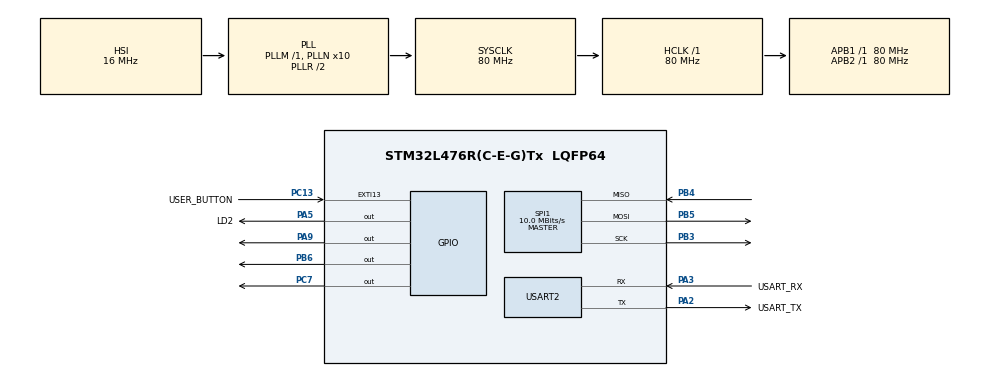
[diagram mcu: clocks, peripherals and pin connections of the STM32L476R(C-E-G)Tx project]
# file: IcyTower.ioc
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Mcu.Family=STM32L4
Mcu.Name=STM32L476R(C-E-G)Tx
Mcu.Package=LQFP64
NVIC.EXTI15_10_IRQn=true\:0\:0\:false\:false\:true\:true\:true\:true
NVIC.PriorityGroup=NVIC_PRIORITYGROUP_4
NVIC.USART2_IRQn=true\:1\:0\:true\:false\:true\:true\:true\:true
PA13\ (JTMS-SWDIO).GPIO_Label=TMS
PA13\ (JTMS-SWDIO).Mode=Serial_Wire
PA13\ (JTMS-SWDIO).Signal=SYS_JTMS-SWDIO
PA14\ (JTCK-SWCLK).GPIO_Label=TCK
PA14\ (JTCK-SWCLK).Mode=Serial_Wire
PA14\ (JTCK-SWCLK).Signal=SYS_JTCK-SWCLK
PA2.GPIO_Label=USART_TX
PA2.GPIO_Mode=GPIO_MODE_AF_PP
PA2.GPIO_PuPd=GPIO_NOPULL
PA2.GPIO_Speed=GPIO_SPEED_FREQ_VERY_HIGH
PA2.Mode=Asynchronous
PA2.Signal=USART2_TX
PA3.GPIO_Label=USART_RX
PA3.GPIO_Mode=GPIO_MODE_AF_PP
PA3.GPIO_PuPd=GPIO_NOPULL
PA3.GPIO_Speed=GPIO_SPEED_FREQ_VERY_HIGH
PA3.Mode=Asynchronous
PA3.Signal=USART2_RX
PA5.GPIO_Label=LD2
PA5.GPIO_ModeDefaultOutputPP=GPIO_MODE_OUTPUT_PP
PA5.GPIO_PuPd=GPIO_NOPULL
PA5.GPIO_Speed=GPIO_SPEED_FREQ_LOW
PA5.Signal=GPIO_Output
PA9.Signal=GPIO_Output
PB3\ (JTDO-TRACESWO).Mode=Full_Duplex_Master
PB3\ (JTDO-TRACESWO).Signal=SPI1_SCK
PB4\ (NJTRST).Mode=Full_Duplex_Master
PB4\ (NJTRST).Signal=SPI1_MISO
PB5.Mode=Full_Duplex_Master
PB5.Signal=SPI1_MOSI
PB6.Signal=GPIO_Output
PC13.GPIO_Label=USER_BUTTON
PC13.GPIO_ModeDefaultEXTI=GPIO_MODE_IT_FALLING
PC13.GPIO_PuPd=GPIO_NOPULL
PC13.Signal=GPXTI13
PC14-OSC32_IN\ (PC14).Mode=LSE-External-Oscillator
PC14-OSC32_IN\ (PC14).Signal=RCC_OSC32_IN
PC15-OSC32_OUT\ (PC15).Mode=LSE-External-Oscillator
PC15-OSC32_OUT\ (PC15).Signal=RCC_OSC32_OUT
PC7.Signal=GPIO_Output
PH0-OSC_IN\ (PH0).Signal=RCC_OSC_IN
PH1-OSC_OUT\ (PH1).Signal=RCC_OSC_OUT
ProjectManager.HeapSize=0x200
ProjectManager.StackSize=0x400
ProjectManager.TargetToolchain=STM32CubeIDE
RCC.ADCFreq_Value=64000000
RCC.AHBFreq_Value=80000000
RCC.APB1Freq_Value=80000000
RCC.APB1TimFreq_Value=80000000
RCC.APB2Freq_Value=80000000
RCC.APB2TimFreq_Value=80000000
RCC.CortexFreq_Value=80000000
RCC.HCLKFreq_Value=80000000
RCC.HSE_VALUE=8000000
RCC.HSI_VALUE=16000000
RCC.MSI_VALUE=4000000
RCC.PLLN=10
RCC.PLLSourceVirtual=RCC_PLLSOURCE_HSI
RCC.PREFETCH_ENABLE=1
RCC.SYSCLKFreq_VALUE=80000000
RCC.SYSCLKSource=RCC_SYSCLKSOURCE_PLLCLK
RCC.USBFreq_Value=64000000
RCC.VCOOutputFreq_Value=160000000
SPI1.BaudRatePrescaler=SPI_BAUDRATEPRESCALER_8
SPI1.CalculateBaudRate=10.0 MBits/s
SPI1.DataSize=SPI_DATASIZE_8BIT
SPI1.Direction=SPI_DIRECTION_2LINES
SPI1.Mode=SPI_MODE_MASTER
SPI1.VirtualType=VM_MASTER
USART2.VirtualMode-Asynchronous=VM_ASYNC
board=NUCLEO-L476RG

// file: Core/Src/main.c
/* USER CODE BEGIN Header */
// ... (sekcja nagłówkowa bez zmian)
/* USER CODE END Header */

#include "main.h"

/* USER CODE BEGIN Includes */
#include "ssd1306.h"
#include "ssd1306_tests.h"
#include "sx1509.h"
#include "ssd1306_fonts.h"
#include <stdlib.h>
#include <stdio.h>
#include <stdint.h>
#include "stm32l4xx_hal_pwr.h"

/* USER CODE END Includes */

/* USER CODE BEGIN PTD */
typedef struct {
    int x_start;
    int x_end;
    int y;
    int active;
} Platform;

typedef enum {
    PLAYER_GROUNDED,
    PLAYER_JUMPING
} PlayerState;
/* USER CODE END PTD */

/* USER CODE BEGIN PD */
#define MAX_PLATFORMS 20
#define PLATFORM_LENGTH 30
#define PLATFORM_SPACING 25
#define SCROLL_THRESHOLD 20
#define GROUND_LEVEL 63
#define CAMERA_SPEED 1
#define GRAVITY 1
#define JUMP_VELOCITY -12
#define PLAYER_HEIGHT 16
#define PLAYER_WIDTH 16
#define MAX_GAME_SPEED 3.0
#define SCREEN_HEIGHT 64
/* USER CODE END PD */

SPI_HandleTypeDef hspi1;
UART_HandleTypeDef huart2;

/* USER CODE BEGIN PV */
uint8_t rxBuffer[2], scndChar = 0;
int checkMenu = 0, gameStart = 0, gameOver = 0;
int player_x = 60, player_y = GROUND_LEVEL-PLAYER_HEIGHT;
int32_t camera_y = 0;
uint32_t score = 0, highest_score = 0;
int32_t highest_platform_y = GROUND_LEVEL;
float game_speed = 1.0;
int jump_velocity = 0;
char last_key = 0;
PlayerState player_state = PLAYER_GROUNDED;
Platform platforms[MAX_PLATFORMS];
volatile uint8_t restart_flag = 0;
/* USER CODE END PV */

void SystemClock_Config(void);
static void MX_GPIO_Init(void);
static void MX_USART2_UART_Init(void);
static void MX_SPI1_Init(void);
/* USER CODE BEGIN PFP */
void generate_platforms();
void update_game_world();
void draw_world();
void reset_game();
void handle_input();
void update_jump_state();
void cleanup_platforms();
void game_over_screen();
int32_t is_on_platform();
/* USER CODE END PFP */

/* USER CODE BEGIN 0 */
int __io_putchar(int ch){
    if(ch == '\n'){
        __io_putchar('\r');
    }
    HAL_UART_Transmit(&huart2, (uint8_t*)&ch, 1, HAL_MAX_DELAY);
    return 1;
}

void startMenudisplay(int x) {
    ssd1306_Fill(Black);
    ssd1306_SetCursor(28, 24);
    ssd1306_WriteString("Start Game", Font_7x10, White);
    ssd1306_SetCursor(48, 36);
    ssd1306_WriteString("Exit", Font_7x10, White);
    ssd1306_Line(28, x, 97, x, White);
    ssd1306_UpdateScreen();
}

void generate_platforms() {
    static int32_t last_y = GROUND_LEVEL;

    while (last_y > (camera_y - 128)) {
        for (int i = 0; i < MAX_PLATFORMS; i++) {
            if (!platforms[i].active) {
                platforms[i].x_start = 4 + (rand() % (128 - 8 - PLATFORM_LENGTH));
                platforms[i].x_end = platforms[i].x_start + PLATFORM_LENGTH;
                platforms[i].y = last_y - PLATFORM_SPACING;
                platforms[i].active = 1;
                last_y = platforms[i].y;
                break;
            }
        }
        if (last_y < -1000) break;
    }
}

void cleanup_platforms() {
    for (int i = 0; i < MAX_PLATFORMS; i++) {
        if (platforms[i].active && (platforms[i].y > camera_y + SCREEN_HEIGHT * 2)) {
            platforms[i].active = 0;
        }
    }
}

void update_game_world() {
    game_speed = 1.0 + (score * 0.001);
    if (game_speed > MAX_GAME_SPEED) {
        game_speed = MAX_GAME_SPEED;
    }

    if (player_y < (camera_y + SCROLL_THRESHOLD)) {
        camera_y = player_y - SCROLL_THRESHOLD;
    }

    if (player_y > camera_y + SCREEN_HEIGHT) {
        gameOver = 1;
        gameStart = 0;
        if (score > highest_score) {
            highest_score = score;
        }
    }
}

void draw_world() {
    ssd1306_Fill(Black);

    for (int i = 0; i < MAX_PLATFORMS; i++) {
        if (platforms[i].active) {
            int screen_y = platforms[i].y - camera_y;
            if (screen_y >= -16 && screen_y < 80) {
                ssd1306_Line(platforms[i].x_start, screen_y,
                            platforms[i].x_end, screen_y, White);
            }
        }
    }

    int player_screen_y = player_y - camera_y;
    if (player_screen_y >= -16 && player_screen_y < 80) {
        ssd1306_DrawIcyTowerModel(player_x, player_screen_y);
    }

    ssd1306_Line(4, 0, 4, 63, White);
    ssd1306_Line(124, 0, 124, 63, White);

    char score_str[16];
    snprintf(score_str, sizeof(score_str), "%lu", score);
    ssd1306_SetCursor(90, 0);
    ssd1306_WriteString(score_str, Font_7x10, White);

    ssd1306_UpdateScreen();
}

void game_over_screen() {
    ssd1306_Fill(Black);
    ssd1306_SetCursor(15, 10);
    ssd1306_WriteString("GAME OVER", Font_11x18, White);

    char hi_score_str[20];
    snprintf(hi_score_str, sizeof(hi_score_str), "HI: %lu", highest_score);
    ssd1306_SetCursor(26, 35);
    ssd1306_WriteString(hi_score_str, Font_7x10, White);

    ssd1306_SetCursor(8, 50);
    ssd1306_WriteString("Press RESTART button", Font_6x8, White);
    ssd1306_UpdateScreen();
}

int32_t is_on_platform() {
    for (int i = 0; i < MAX_PLATFORMS; i++) {
        if (platforms[i].active &&
            (player_y + PLAYER_HEIGHT == platforms[i].y) &&
            (player_x - PLAYER_WIDTH/2 <= platforms[i].x_end) &&
            (player_x + PLAYER_WIDTH/2 >= platforms[i].x_start)) {
            return platforms[i].y;
        }
    }
    if (player_y + PLAYER_HEIGHT == GROUND_LEVEL) {
        return GROUND_LEVEL;
    }
    return -1;
}

void handle_input() {
    if (last_key == 'a' && player_x > 4) {
        player_x -= 12;
    }
    else if (last_key == 'd' && player_x < 116) {
        player_x += 12;
    }

    if (last_key == 'w' && player_state == PLAYER_GROUNDED) {
        jump_velocity = JUMP_VELOCITY;
        player_state = PLAYER_JUMPING;
    }

    last_key = 0;
}

void update_jump_state() {
    if (player_state == PLAYER_JUMPING) {
        player_y += jump_velocity;
        jump_velocity += GRAVITY;

        int landed = 0;
        int32_t platform_y = is_on_platform();
        if (platform_y != -1) {
            landed = 1;
            player_y = platform_y - PLAYER_HEIGHT;
        }

        if (player_y + PLAYER_HEIGHT >= GROUND_LEVEL) {
            landed = 1;
            player_y = GROUND_LEVEL - PLAYER_HEIGHT;
        }

        if (landed) {
            player_state = PLAYER_GROUNDED;
            jump_velocity = 0;

            if (platform_y != -1) {
                if (platform_y < highest_platform_y) {
                    score += highest_platform_y - platform_y;
                    highest_platform_y = platform_y;
                }
            }
        }
    }
    else {
        if (is_on_platform() == -1) {
            player_state = PLAYER_JUMPING;
            jump_velocity = 0;
        }
    }
}

void reset_game() {
    srand(HAL_GetTick());

    player_x = 60;
    player_y = GROUND_LEVEL - PLAYER_HEIGHT;
    camera_y = 0;
    score = 0;
    game_speed = 1.0;
    jump_velocity = 0;
    highest_platform_y = GROUND_LEVEL;
    player_state = PLAYER_GROUNDED;

    for (int i = 0; i < MAX_PLATFORMS; i++) {
        platforms[i].active = 0;
    }

    platforms[0] = (Platform){4, 124, GROUND_LEVEL, 1};
    generate_platforms();
}

void HAL_GPIO_EXTI_Callback(uint16_t GPIO_Pin) {
    if (GPIO_Pin == USER_BUTTON_Pin) {
        HAL_Delay(50);
        if (HAL_GPIO_ReadPin(USER_BUTTON_GPIO_Port, USER_BUTTON_Pin) == GPIO_PIN_RESET) {
            restart_flag = 1;
        }
    }
}

void HAL_UART_RxCpltCallback(UART_HandleTypeDef *huart) {
    uint8_t fstChar = rxBuffer[0];
    if (huart->Instance == USART2) {
        if (!gameStart && !gameOver) {
            if (fstChar == 'u') {
                startMenudisplay(34);
                checkMenu = 1;
            } else if (fstChar == 'j') {
                startMenudisplay(45);
                checkMenu = 0;
            } else if (fstChar == 'k') {
                if (checkMenu) {
                    gameStart = 1;
                    reset_game();
                    draw_world();
                } else {
                    // Wybrano Exit - przejście w tryb uśpienia
                    ssd1306_Fill(Black);
                    ssd1306_UpdateScreen();
                    HAL_Delay(100);

                    // Wyłącz odbieranie UART
                    HAL_UART_AbortReceive_IT(&huart2);

                    // Konfiguracja wybudzenia przez przycisk
                    HAL_PWR_EnableWakeUpPin(PWR_WAKEUP_PIN2);
                    HAL_SuspendTick();

                    // Przejście w tryb SLEEP
                    HAL_PWR_EnterSLEEPMode(PWR_MAINREGULATOR_ON, PWR_SLEEPENTRY_WFI);

                    // Po wybudzeniu
                    HAL_ResumeTick();
                    MX_USART2_UART_Init();
                    MX_SPI1_Init();
                    HAL_UART_Receive_IT(&huart2, rxBuffer, 1);
                    ssd1306_Init();
                    startMenudisplay(34);
                }
            }
        } else {
            last_key = fstChar;
        }
        scndChar = fstChar;
        HAL_UART_Receive_IT(&huart2, rxBuffer, 1);
    }
}
/* USER CODE END 0 */

int main(void) {
    HAL_Init();
    SystemClock_Config();
    MX_GPIO_Init();
    MX_USART2_UART_Init();
    MX_SPI1_Init();

    /* USER CODE BEGIN 2 */
    ssd1306_Init();
    HAL_UART_Receive_IT(&huart2, rxBuffer, 1);
    ssd1306_SetCursor(15,20);
    ssd1306_WriteString("ICY TOWER", Font_11x18, White);
    ssd1306_UpdateScreen();
    HAL_Delay(1000);
    startMenudisplay(34);
    /* USER CODE END 2 */

    while (1) {
        if (gameStart && !gameOver) {
            generate_platforms();
            cleanup_platforms();
            update_game_world();

            handle_input();
            update_jump_state();

            draw_world();

            uint32_t delay = (uint32_t)(50 / game_speed);
            if (delay < 10) delay = 10;
            HAL_Delay(delay);
        }
        else if (gameOver) {
            game_over_screen();
            if (restart_flag) {
                restart_flag = 0;
                gameOver = 0;
                reset_game();
                gameStart = 1;
            }
        }
    }
}

// Reszta kodu pozostaje bez zmian (SystemClock_Config, MX_GPIO_Init, MX_USART2_UART_Init, MX_SPI1_Init)
void SystemClock_Config(void)
{
  RCC_OscInitTypeDef RCC_OscInitStruct = {0};
  RCC_ClkInitTypeDef RCC_ClkInitStruct = {0};

  /** Configure the main internal regulator output voltage
  */
  if (HAL_PWREx_ControlVoltageScaling(PWR_REGULATOR_VOLTAGE_SCALE1) != HAL_OK)
  {
    Error_Handler();
  }

  /** Initializes the RCC Oscillators according to the specified parameters
  * in the RCC_OscInitTypeDef structure.
  */
  RCC_OscInitStruct.OscillatorType = RCC_OSCILLATORTYPE_HSI;
  RCC_OscInitStruct.HSIState = RCC_HSI_ON;
  RCC_OscInitStruct.HSICalibrationValue = RCC_HSICALIBRATION_DEFAULT;
  RCC_OscInitStruct.PLL.PLLState = RCC_PLL_ON;
  RCC_OscInitStruct.PLL.PLLSource = RCC_PLLSOURCE_HSI;
  RCC_OscInitStruct.PLL.PLLM = 1;
  RCC_OscInitStruct.PLL.PLLN = 10;
  RCC_OscInitStruct.PLL.PLLP = RCC_PLLP_DIV7;
  RCC_OscInitStruct.PLL.PLLQ = RCC_PLLQ_DIV2;
  RCC_OscInitStruct.PLL.PLLR = RCC_PLLR_DIV2;
  if (HAL_RCC_OscConfig(&RCC_OscInitStruct) != HAL_OK)
  {
    Error_Handler();
  }

  /** Initializes the CPU, AHB and APB buses clocks
  */
  RCC_ClkInitStruct.ClockType = RCC_CLOCKTYPE_HCLK|RCC_CLOCKTYPE_SYSCLK
                              |RCC_CLOCKTYPE_PCLK1|RCC_CLOCKTYPE_PCLK2;
  RCC_ClkInitStruct.SYSCLKSource = RCC_SYSCLKSOURCE_PLLCLK;
  RCC_ClkInitStruct.AHBCLKDivider = RCC_SYSCLK_DIV1;
  RCC_ClkInitStruct.APB1CLKDivider = RCC_HCLK_DIV1;
  RCC_ClkInitStruct.APB2CLKDivider = RCC_HCLK_DIV1;

  if (HAL_RCC_ClockConfig(&RCC_ClkInitStruct, FLASH_LATENCY_4) != HAL_OK)
  {
    Error_Handler();
  }
}

static void MX_SPI1_Init(void)
{

  /* SPI1 parameter configuration*/
  hspi1.Instance = SPI1;
  hspi1.Init.Mode = SPI_MODE_MASTER;
  hspi1.Init.Direction = SPI_DIRECTION_2LINES;
  hspi1.Init.DataSize = SPI_DATASIZE_8BIT;
  hspi1.Init.CLKPolarity = SPI_POLARITY_LOW;
  hspi1.Init.CLKPhase = SPI_PHASE_1EDGE;
  hspi1.Init.NSS = SPI_NSS_SOFT;
  hspi1.Init.BaudRatePrescaler = SPI_BAUDRATEPRESCALER_8;
  hspi1.Init.FirstBit = SPI_FIRSTBIT_MSB;
  hspi1.Init.TIMode = SPI_TIMODE_DISABLE;
  hspi1.Init.CRCCalculation = SPI_CRCCALCULATION_DISABLE;
  hspi1.Init.CRCPolynomial = 7;
  hspi1.Init.CRCLength = SPI_CRC_LENGTH_DATASIZE;
  hspi1.Init.NSSPMode = SPI_NSS_PULSE_ENABLE;
  if (HAL_SPI_Init(&hspi1) != HAL_OK)
  {
    Error_Handler();
  }

}

static void MX_USART2_UART_Init(void)
{

  huart2.Instance = USART2;
  huart2.Init.BaudRate = 115200;
  huart2.Init.WordLength = UART_WORDLENGTH_8B;
  huart2.Init.StopBits = UART_STOPBITS_1;
  huart2.Init.Parity = UART_PARITY_NONE;
  huart2.Init.Mode = UART_MODE_TX_RX;
  huart2.Init.HwFlowCtl = UART_HWCONTROL_NONE;
  huart2.Init.OverSampling = UART_OVERSAMPLING_16;
  huart2.Init.OneBitSampling = UART_ONE_BIT_SAMPLE_DISABLE;
  huart2.AdvancedInit.AdvFeatureInit = UART_ADVFEATURE_NO_INIT;
  if (HAL_UART_Init(&huart2) != HAL_OK)
  {
    Error_Handler();
  }

}

static void MX_GPIO_Init(void)
{
  GPIO_InitTypeDef GPIO_InitStruct = {0};

  /* GPIO Ports Clock Enable */
  __HAL_RCC_GPIOC_CLK_ENABLE();
  __HAL_RCC_GPIOH_CLK_ENABLE();
  __HAL_RCC_GPIOA_CLK_ENABLE();
  __HAL_RCC_GPIOB_CLK_ENABLE();

  /*Configure GPIO pin Output Level */
  HAL_GPIO_WritePin(GPIOA, LD2_Pin|GPIO_PIN_9, GPIO_PIN_RESET);

  /*Configure GPIO pin Output Level */
  HAL_GPIO_WritePin(GPIOC, GPIO_PIN_7, GPIO_PIN_RESET);

  /*Configure GPIO pin Output Level */
  HAL_GPIO_WritePin(GPIOB, GPIO_PIN_6, GPIO_PIN_RESET);

  /*Configure GPIO pin : USER_BUTTON_Pin */
  GPIO_InitStruct.Pin = USER_BUTTON_Pin;
  GPIO_InitStruct.Mode = GPIO_MODE_IT_FALLING;
  GPIO_InitStruct.Pull = GPIO_NOPULL;
  HAL_GPIO_Init(USER_BUTTON_GPIO_Port, &GPIO_InitStruct);

  /*Configure GPIO pins : LD2_Pin PA9 */
  GPIO_InitStruct.Pin = LD2_Pin|GPIO_PIN_9;
  GPIO_InitStruct.Mode = GPIO_MODE_OUTPUT_PP;
  GPIO_InitStruct.Pull = GPIO_NOPULL;
  GPIO_InitStruct.Speed = GPIO_SPEED_FREQ_LOW;
  HAL_GPIO_Init(GPIOA, &GPIO_InitStruct);

  /*Configure GPIO pin : PC7 */
  GPIO_InitStruct.Pin = GPIO_PIN_7;
  GPIO_InitStruct.Mode = GPIO_MODE_OUTPUT_PP;
  GPIO_InitStruct.Pull = GPIO_NOPULL;
  GPIO_InitStruct.Speed = GPIO_SPEED_FREQ_LOW;
  HAL_GPIO_Init(GPIOC, &GPIO_InitStruct);

  /*Configure GPIO pin : PB6 */
  GPIO_InitStruct.Pin = GPIO_PIN_6;
  GPIO_InitStruct.Mode = GPIO_MODE_OUTPUT_PP;
  GPIO_InitStruct.Pull = GPIO_NOPULL;
  GPIO_InitStruct.Speed = GPIO_SPEED_FREQ_LOW;
  HAL_GPIO_Init(GPIOB, &GPIO_InitStruct);

  /* EXTI interrupt init*/
  HAL_NVIC_SetPriority(EXTI15_10_IRQn, 0, 0);
  HAL_NVIC_EnableIRQ(EXTI15_10_IRQn);

  /* USER CODE BEGIN MX_GPIO_Init_3 */

  /* USER CODE END MX_GPIO_Init_2 */
}

void Error_Handler(void)
{
  __disable_irq();
  while (1)
  {
  }
}
